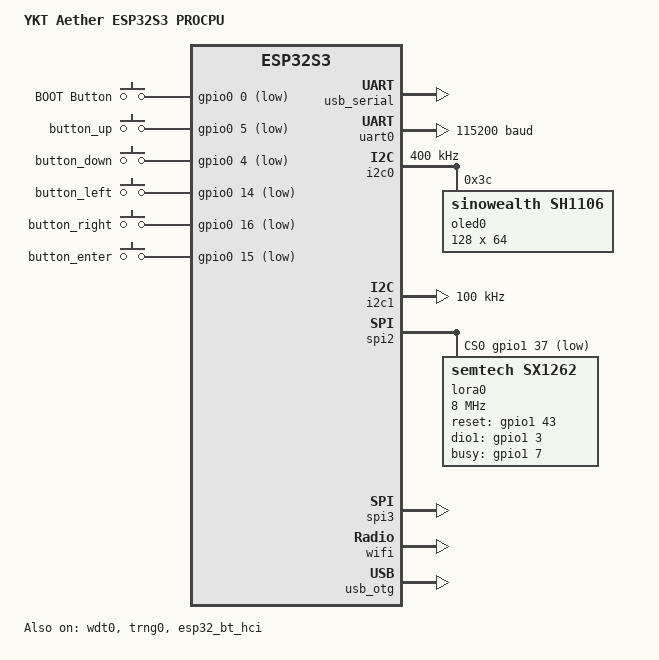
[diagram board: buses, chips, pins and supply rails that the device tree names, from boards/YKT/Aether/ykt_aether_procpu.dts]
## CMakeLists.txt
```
# specify minimum CMake Version
cmake_minimum_required(VERSION 3.20.0)

# locate timeBase module
set(ZEPHYR_EXTRA_MODULES "${CMAKE_SOURCE_DIR}/../modules/timeBase")

# Locate Zephyr source
find_package(
    Zephyr
    REQUIRED
    HINTS
    ../../../zephyr
)

# Project name
project(
    Project_Aether
    VERSION 1.0
    DESCRIPTION "Embedded Connectivity Platform"
    LANGUAGES C
)

# Static libraries
add_library(
    my_lib
    STATIC
    src/my_lib.c
)

# Set include directories for libraries
target_include_directories(
    my_lib
    PUBLIC
    ${CMAKE_CURRENT_SOURCE_DIR}/include
)

# Create executable target (Zephyr takes care of this. Target name = app)
# add_executable(
#     ${PROJECT_NAME}
#     src/main.c
# )

# Locate source code for application
target_sources(
    app
    PRIVATE
    src/main.c
)

# Link libraries to executable target
target_link_libraries(
    app
    PRIVATE
    my_lib
)
```

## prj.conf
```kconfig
# Zephyr Project Configuration File

# Needed since default stack size is too small for LVGL
CONFIG_MAIN_STACK_SIZE=8192

CONFIG_STACK_POINTER_RANDOM=0
CONFIG_TEST_RANDOM_GENERATOR=y
CONFIG_TIMER_RANDOM_GENERATOR=y
CONFIG_TEST_CSPRNG_GENERATOR=y

# Logging Support
CONFIG_LOG=y

# Input Support
CONFIG_INPUT=y

# LoRa Support
CONFIG_LORA=y

# I2C Support
CONFIG_I2C=y

# Display Support
CONFIG_DISPLAY=y
CONFIG_CHARACTER_FRAMEBUFFER=y

# LVGL Configuration
CONFIG_LVGL=y

CONFIG_LV_COLOR_DEPTH_1=y
CONFIG_LV_Z_BITS_PER_PIXEL=1
CONFIG_LV_Z_VDB_SIZE=32

CONFIG_LV_CONF_MINIMAL=y

CONFIG_LV_USE_BUTTON=y
CONFIG_LV_USE_CHECKBOX=y
CONFIG_LV_USE_LABEL=y
CONFIG_LV_USE_MENU=y
CONFIG_LV_USE_LIST=y
CONFIG_LV_USE_SLIDER=y
CONFIG_LV_USE_SWITCH=y

CONFIG_LV_USE_FLEX=y

CONFIG_LV_USE_THEME_MONO=y

CONFIG_LV_Z_MEM_POOL_SIZE=8192
```

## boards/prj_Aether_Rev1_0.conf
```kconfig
CONFIG_TIMEBASE=y
```

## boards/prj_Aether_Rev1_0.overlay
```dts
/ {

    aliases {
        pps0 = &pps_0;
    };

    gnss-pps {
        compatible = "gpio-keys";
        polling-mode;
        pps_0: d3 {
            gpios = <&gpio0 3 GPIO_ACTIVE_LOW>;
        };
    };
    
};
```

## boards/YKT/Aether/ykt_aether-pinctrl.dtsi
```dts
/*
 * Copyright (c) 2024 Espressif Systems (Shanghai) Co., Ltd.
 *
 * SPDX-License-Identifier: Apache-2.0
 */

#include <zephyr/dt-bindings/pinctrl/esp-pinctrl-common.h>
#include <zephyr/dt-bindings/pinctrl/esp32s3-pinctrl.h>
#include <zephyr/dt-bindings/pinctrl/esp32s3-gpio-sigmap.h>

&pinctrl {
	uart0_default: uart0_default {
		group1 {
			pinmux = <UART0_TX_GPIO43>;
			output-high;
		};

		group2 {
			pinmux = <UART0_RX_GPIO44>;
			bias-pull-up;
		};
	};

	uart1_default: uart1_default {
		group1 {
			pinmux = <UART1_TX_GPIO17>;
			output-high;
		};

		group2 {
			pinmux = <UART1_RX_GPIO18>;
			bias-pull-up;
		};
	};

	i2c0_default: i2c0_default {
		group1 {
			pinmux = <I2C0_SDA_GPIO8>,
				 <I2C0_SCL_GPIO9>;
			bias-pull-up;
			drive-open-drain;
			output-high;
		};
	};

	i2c1_default: i2c1_default {
		group1 {
			pinmux = <I2C1_SDA_GPIO4>,
				 <I2C1_SCL_GPIO5>;
			bias-pull-up;
			drive-open-drain;
			output-high;
		};
	};

	i2s0_default: i2s0_default {
		group1 {
			pinmux = <I2S0_MCLK_GPIO42>,
				 <I2S0_O_WS_GPIO36>,
				 <I2S0_O_BCK_GPIO37>,
				 <I2S0_O_SD_GPIO38>,
				 <I2S0_I_SD_GPIO41>;
		};
	};

	i2s1_default: i2s1_default {
		group1 {
			pinmux = <I2S1_MCLK_GPIO48>,
				 <I2S1_O_WS_GPIO4>,
				 <I2S1_O_BCK_GPIO5>,
				 <I2S1_O_SD_GPIO6>,
				 <I2S1_I_SD_GPIO12>;
		};
	};

	spim2_default: spim2_default {
		group1 {
			pinmux = <SPIM2_MISO_GPIO42>,
				 <SPIM2_SCLK_GPIO40>,
				 <SPIM2_CSEL_GPIO37>;
		};

		group2 {
			pinmux = <SPIM2_MOSI_GPIO41>;
			output-low;
		};
	};

	spim3_default: spim3_default {
		group1 {
			pinmux = <SPIM3_MISO_GPIO37>,
				 <SPIM3_SCLK_GPIO36>,
				 <SPIM3_CSEL_GPIO38>;
		};

		group2 {
			pinmux = <SPIM3_MOSI_GPIO39>;
			output-low;
		};
	};

	twai_default: twai_default {
		group1 {
			pinmux = <TWAI_TX_GPIO5>,
				 <TWAI_RX_GPIO6>;
		};
	};
};
```

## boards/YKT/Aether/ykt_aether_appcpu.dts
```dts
/*
 * Copyright (c) 2024 Espressif Systems (Shanghai) Co., Ltd.
 *
 * SPDX-License-Identifier: Apache-2.0
 */
/dts-v1/;

#include <espressif/esp32s3/esp32s3_wroom_n8.dtsi>
#include <espressif/partitions_0x0_amp.dtsi>
#include "ykt_aether-pinctrl.dtsi"

/ {
	model = "YKT Aether ESP32S3 APPCPU";
	compatible = "espressif,esp32s3";

	chosen {
		zephyr,sram = &sram1;
		zephyr,ipc_shm = &shm0;
		zephyr,ipc = &ipm0;
		zephyr,flash = &flash0;
		zephyr,code-partition = &slot0_appcpu_partition;
	};
};

&trng0 {
	status = "okay";
};

&ipm0 {
	status = "okay";
};
```

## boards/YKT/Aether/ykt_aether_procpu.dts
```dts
/*
 * Copyright (c) 2024-2025 Espressif Systems (Shanghai) Co., Ltd.
 *
 * SPDX-License-Identifier: Apache-2.0
 */
/dts-v1/;

#include <espressif/esp32s3/esp32s3_wroom_n8.dtsi>
#include <zephyr/dt-bindings/input/input-event-codes.h>
#include <zephyr/dt-bindings/input/esp32-touch-sensor-input.h>
#include <espressif/partitions_0x0_amp.dtsi>

// Default pin settings
#include "ykt_aether-pinctrl.dtsi"

// LVGL bindings include
#include <zephyr/dt-bindings/lvgl/lvgl.h>

/ {
	model = "YKT Aether ESP32S3 PROCPU";
	compatible = "espressif,esp32s3";

	aliases {
		i2c-0 = &i2c0;
		watchdog0 = &wdt0;
		uart-0 = &uart0;
		sw0 = &button0;
		lora0 = &lora0;
		oled0 = &oled0;
	};

	chosen {
		zephyr,sram = &sram1;
		zephyr,console = &usb_serial;
		zephyr,shell-uart = &usb_serial;
		zephyr,flash = &flash0;
		zephyr,code-partition = &slot0_partition;
		zephyr,bt-hci = &esp32_bt_hci;
		zephyr,display = &oled0;
	};

	//physical button definitions
	buttons: buttons {
		compatible = "gpio-keys";

		button0: button_0 {
			gpios = <&gpio0 0 (GPIO_PULL_UP | GPIO_ACTIVE_LOW)>;
			label = "BOOT Button";
			zephyr,code = <INPUT_KEY_0>;
		};

        button_up: d5 {
            gpios = <&gpio0 5 GPIO_ACTIVE_LOW>;
			zephyr,code = <INPUT_KEY_UP>;
        };


        button_down: d4 {
            gpios = <&gpio0 4 GPIO_ACTIVE_LOW>;
			zephyr,code = <INPUT_KEY_DOWN>;
        };


        button_left: d14 {
            gpios = <&gpio0 14 GPIO_ACTIVE_LOW>;
			zephyr,code = <INPUT_KEY_LEFT>;
        };


        button_right: d16 {
            gpios = <&gpio0 16 GPIO_ACTIVE_LOW>;
			zephyr,code = <INPUT_KEY_RIGHT>;
        };

        button_enter: d15 {
            gpios = <&gpio0 15 GPIO_ACTIVE_LOW>;
			zephyr,code = <INPUT_KEY_ENTER>;
        };

	};

	// LVGL keypad input device (dpad buttons)
	dpad0: keypad0 {
		compatible = "zephyr,lvgl-keypad-input";
		input = <&buttons>;

		input-codes = <	INPUT_KEY_UP
					   	INPUT_KEY_DOWN
					   	INPUT_KEY_LEFT
					   	INPUT_KEY_RIGHT
					   	INPUT_KEY_ENTER>;

		lvgl-codes = <	LV_KEY_UP
						LV_KEY_DOWN
						LV_KEY_LEFT
						LV_KEY_RIGHT
						LV_KEY_ENTER>;

	};
};

&usb_serial {
	status = "okay";
};

&uart0 {
	status = "okay";
	current-speed = <115200>;
	pinctrl-0 = <&uart0_default>;
	pinctrl-names = "default";
};

&gpio0 {
	status = "okay";
};

&gpio1 {
	status = "okay";
};

&touch {
	debounce-interval-ms = <30>;
	href-microvolt = <2700000>;
	lref-microvolt = <500000>;
	href-atten-microvolt = <1000000>;
	filter-mode = <ESP32_TOUCH_FILTER_MODE_IIR_16>;
	filter-debounce-cnt = <1>;
	filter-noise-thr = <ESP32_TOUCH_FILTER_NOISE_THR_4_8TH>;
	filter-jitter-step = <4>;
	filter-smooth-level = <ESP32_TOUCH_FILTER_SMOOTH_MODE_IIR_2>;
};

&i2c0 {
	status = "okay";
	clock-frequency = <I2C_BITRATE_FAST>;
	pinctrl-0 = <&i2c0_default>;
	pinctrl-names = "default";

	// OLED display
	oled0: sh1106@3c {
		compatible = "sinowealth,sh1106";
		reg = <0x3c>;
		width = <128>;
		height = <64>;
		segment-offset = <2>;
		page-offset = <0>;
		display-offset = <0>;
		multiplex-ratio = <63>;
		prechargep = <0xD1>;
		inversion-on;
	};

};

&i2c1 {
	clock-frequency = <I2C_BITRATE_STANDARD>;
	pinctrl-0 = <&i2c1_default>;
	pinctrl-names = "default";
};

&i2s0 {
	pinctrl-0 = <&i2s0_default>;
	pinctrl-names = "default";
};

&i2s1 {
	pinctrl-0 = <&i2s1_default>;
	pinctrl-names = "default";
};

&spi2 {
	#address-cells = <1>;
	#size-cells = <0>;
	status = "okay";
	pinctrl-0 = <&spim2_default>;
	pinctrl-names = "default";

	// Set chip select GPIO pins used for SPI devices here
	cs-gpios = <&gpio1 37 GPIO_ACTIVE_LOW>;
	
	// LoRa module
	lora0: sx1262@0 {
		status = "okay";
		compatible = "semtech,sx1262";
		reg = <0>;

		spi-max-frequency = <8000000>;

		// Current revision of hardware connected LoRa reset to sys reset. IO43 is an unused pin used as a placeholder.
		reset-gpios = <&gpio1 43 GPIO_ACTIVE_HIGH>;

		// LoRa module DIO1 (interrupt) pin on GPIO35 -> bank 1 pin 3
		dio1-gpios = <&gpio1 3 (GPIO_ACTIVE_HIGH | GPIO_PULL_DOWN)>;

		// LoRa module busy pin on GPIO39 -> bank 1 pin 7
		busy-gpios = <&gpio1 7 (GPIO_ACTIVE_HIGH | GPIO_PULL_DOWN)>;

		// LoRa module antenna switch control pin on GPIO45 -> bank 1 pin 13
		//rx-enable-gpios = <&gpio1 13 GPIO_ACTIVE_HIGH>;
		//tx-enable-gpios = <&gpio1 13 GPIO_ACTIVE_LOW>;

		// DIO2 internally controls the RF switch for the WIO-sx1262 module
		dio2-tx-enable;

		// TCXO voltage supply pin on DIO3 (set to 3.0V as per module specifications (.2V less than Vcc))
		dio3-tcxo-voltage = <0x06>;

	};
};

&spi3 {
	#address-cells = <1>;
	#size-cells = <0>;
	status = "okay";
	pinctrl-0 = <&spim3_default>;
	pinctrl-names = "default";
};

&twai {
	pinctrl-0 = <&twai_default>;
	pinctrl-names = "default";
};

&timer0 {
	status = "disabled";
};

&timer1 {
	status = "disabled";
};

&timer2 {
	status = "disabled";
};

&timer3 {
	status = "disabled";
};

&wdt0 {
	status = "okay";
};

&trng0 {
	status = "okay";
};

&esp32_bt_hci {
	status = "okay";
};

&wifi {
	status = "okay";
};

zephyr_udc0: &usb_otg {
	status = "okay";
};
```

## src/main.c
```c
//--------------------------------INCLUDES BEGIN----------------------------------//

// C standard includes
#include <stdio.h>
#include <string.h>

// Zephyr includes
#include <zephyr/kernel.h>
#include <zephyr/drivers/gpio.h>
#include <zephyr/drivers/lora.h>
#include <zephyr/drivers/display.h>
#include <zephyr/display/cfb.h>
#include <zephyr/logging/log.h>
#include <zephyr/random/random.h>

// LVGL includes
#include <lvgl.h>

// Project specific includes
#include "my_lib.h"

// Project module includes
#ifdef CONFIG_TIMEBASE
#include "timeBase.h"
#endif

//Register logging module
#define LOG_LEVEL CONFIG_LOG_DEBUG
LOG_MODULE_REGISTER(aether_main);

//--------------------------------DT ALIASES BEGIN--------------------------------//
//#define BUTTON_NODE DT_ALIAS(button1)
#define GPS_PPS_NODE DT_ALIAS(pps0)
#define LORA_NODE DT_ALIAS(lora0)
#define OLED_NODE DT_ALIAS(oled0)


//--------------------------------GPIO SPEC BEGIN----------------------------------//
//static const struct gpio_dt_spec button = GPIO_DT_SPEC_GET(BUTTON_NODE, gpios);

static const struct gpio_dt_spec gps_pps = GPIO_DT_SPEC_GET(GPS_PPS_NODE, gpios);


//--------------------------------LORA SPEC BEGIN----------------------------------//
static const struct device *lora_dev = DEVICE_DT_GET(LORA_NODE);


//--------------------------------DISPLAY SPEC BEGIN--------------------------------//
static const struct device *oled_dev = DEVICE_DT_GET(DT_CHOSEN(zephyr_display));


//--------------------------------CONFIG STRUCTS BEGIN------------------------------//
// LoRa device configuration
struct lora_modem_config lora_cfg = {
    .frequency = 915000000,
    .bandwidth = BW_125_KHZ,
    .datarate = SF_12,
    .coding_rate = CR_4_8,
    .preamble_len = 8,
    .tx_power = 4,
    .tx = true,
    .iq_inverted = false,
    .public_network = false,
    .packet_crc_disable = false
};

struct display_buffer_descriptor buf_desc = {
    .buf_size = 128 * 64 / 8,
    .width = 128,
    .height = 64,
    .pitch = 128,
    .frame_incomplete = false
};

uint8_t display_buffer[64 * 128 / 8];


//--------------------------------USER CODE BEGIN----------------------------------//
int main() {

    // Variable to hold return values
    int ret;

    //--------------------------------DEVICE READY CHECKS BEGIN----------------------------//
    // Check if button device is ready
    // if (!gpio_is_ready_dt(&button)){
    //     printk("Button device not ready\n");
    //     return 0;
    // }

    // Check if GPS PPS device is ready
    if (!gpio_is_ready_dt(&gps_pps)){
        printk("Button device not ready\n");
        return 0;
    }

    // Check if LoRa device is ready
    if (!device_is_ready(lora_dev)){
        printk("LoRa device not ready\n");
        return 0;
    }

    // Check if OLED device is ready
    if (!device_is_ready(oled_dev)){
        printk("OLED device not ready\n");
        return 0;
    }
    // Disable OLED display blanking
    display_blanking_off(oled_dev);


    //--------------------------------PIN CONFIGURATION BEGIN------------------------------//
    // Configure button pin as input
    // ret = gpio_pin_configure_dt(&button, GPIO_INPUT);
    // if (ret < 0){
    //     printk("Error %d: failed to configure button pin\n", ret);
    //     return 0;
    // }

    // Configure GPS PPS pin as input
    ret = gpio_pin_configure_dt(&gps_pps, GPIO_INPUT);
    if (ret < 0){
        printk("Error %d: failed to configure GPS PPS pin\n", ret);
        return 0;
    }


    //--------------------------------LORA CONFIGURATION BEGIN------------------------------//
    // Configure LoRa device
    ret = lora_config(lora_dev, &lora_cfg);
    if (ret < 0){
        printk("Error %d: failed to configure LoRa device\n", ret);
        return 0;
    }
	
    //--------------------------------LVGL GUI SETUP----------------------------------------//
    lv_obj_t *hello_label;

    // Create a static label widget
    hello_label = lv_label_create(lv_scr_act());
    lv_label_set_text(hello_label, "Preoject_Aether\nLVGL");
    lv_obj_align(hello_label, LV_ALIGN_TOP_MID, 0, 5);

	display_blanking_off(oled_dev);

    //--------------------------------MAIN LOOP BEGIN---------------------------------------//
    while(1){

        // Handle LVGL tasks
        lv_task_handler();
        int val = 1;

        // Read button state
        // int val = gpio_pin_get_dt(&button);
        // if (val < 0){
        //     printk("Error %d: failed to read button pin\n", val);
        //     return 0;
        // }

        // Read GPS PPS state
        int ppsState = gpio_pin_get_dt(&gps_pps);
        if (ppsState < 0){
            printk("Error %d: failed to read GPS PPS pin\n", ppsState);
            return 0;
        }

        // Print button state
        printk("Button state: %s\n", val ? "PRESSED" : "RELEASED");

        // (Disabled) transmit LoRa message upon PPS signal
        if (0){
            char message[] = "PPS Signal Detected";
            ret = lora_send(lora_dev, (uint8_t*)message, sizeof(message));
            if(ret < 0){
                printk("Error %d: failed to send LoRa message\n", ret);
            } else {
                printk("LoRa message sent: %s\n", message);
            }
        }

        k_msleep(10);

    }

    // should never reach here
    return 0;
}
```

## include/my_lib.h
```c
#ifndef MY_LIB_H
#define MY_LIB_H

void say_hello();

#endif // MY_LIB_H
```

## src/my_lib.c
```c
#include "my_lib.h"

#include <stdio.h>

void say_hello() {
    printf("Hello from my_lib!\n");
}
```
